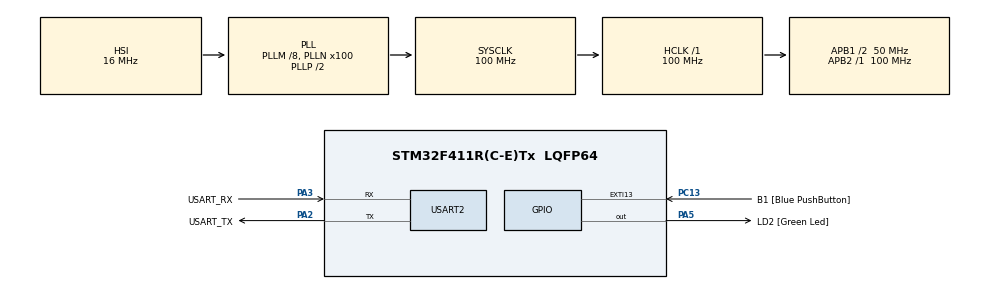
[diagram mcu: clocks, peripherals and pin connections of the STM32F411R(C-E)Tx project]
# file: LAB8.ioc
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Mcu.Family=STM32F4
Mcu.Name=STM32F411R(C-E)Tx
Mcu.Package=LQFP64
NVIC.EXTI15_10_IRQn=true\:0\:0\:false\:false\:true\:true\:true
NVIC.PriorityGroup=NVIC_PRIORITYGROUP_0
NVIC.TIM2_IRQn=true\:0\:0\:false\:false\:true\:true\:true
NVIC.USART2_IRQn=true\:0\:0\:false\:false\:true\:true\:true
PA13.GPIO_Label=TMS
PA13.Mode=Serial_Wire
PA13.Signal=SYS_JTMS-SWDIO
PA14.GPIO_Label=TCK
PA14.Mode=Serial_Wire
PA14.Signal=SYS_JTCK-SWCLK
PA2.GPIO_Label=USART_TX
PA2.Mode=Asynchronous
PA2.Signal=USART2_TX
PA3.GPIO_Label=USART_RX
PA3.Mode=Asynchronous
PA3.Signal=USART2_RX
PA5.GPIO_Label=LD2 [Green Led]
PA5.Signal=GPIO_Output
PB3.GPIO_Label=SWO
PB3.Signal=SYS_JTDO-SWO
PC13-ANTI_TAMP.GPIO_Label=B1 [Blue PushButton]
PC13-ANTI_TAMP.GPIO_ModeDefaultEXTI=GPIO_MODE_IT_RISING_FALLING
PC13-ANTI_TAMP.Signal=GPXTI13
PC14-OSC32_IN.Mode=LSE-External-Oscillator
PC14-OSC32_IN.Signal=RCC_OSC32_IN
PC15-OSC32_OUT.Mode=LSE-External-Oscillator
PC15-OSC32_OUT.Signal=RCC_OSC32_OUT
PH0\ -\ OSC_IN.Mode=HSE-External-Clock-Source
PH0\ -\ OSC_IN.Signal=RCC_OSC_IN
PH1\ -\ OSC_OUT.Mode=HSE-External-Clock-Source
PH1\ -\ OSC_OUT.Signal=RCC_OSC_OUT
ProjectManager.HeapSize=0x200
ProjectManager.StackSize=0x400
ProjectManager.TargetToolchain=STM32CubeIDE
RCC.48MHZClocksFreq_Value=50000000
RCC.AHBFreq_Value=100000000
RCC.APB1CLKDivider=RCC_HCLK_DIV2
RCC.APB1Freq_Value=50000000
RCC.APB1TimFreq_Value=100000000
RCC.APB2Freq_Value=100000000
RCC.APB2TimFreq_Value=100000000
RCC.CortexFreq_Value=100000000
RCC.FLatency-AdvancedSettings=FLASH_LATENCY_3
RCC.HCLKFreq_Value=100000000
RCC.HSE_VALUE=8000000
RCC.HSI_VALUE=16000000
RCC.PLLM=8
RCC.PLLN=100
RCC.SYSCLKFreq_VALUE=100000000
RCC.SYSCLKSource=RCC_SYSCLKSOURCE_PLLCLK
RCC.VCOOutputFreq_Value=200000000
TIM2.Prescaler=99
USART2.VirtualMode=VM_ASYNC
VP_TIM2_VS_ClockSourceINT.Mode=Internal
board=NUCLEO-F411RE

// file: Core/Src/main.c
/* USER CODE BEGIN Header */
/**
 ******************************************************************************
 * @file           : main.c
 * @brief          : Main program body
 ******************************************************************************
 * @attention
 *
 * <h2><center>&copy; Copyright (c) 2021 STMicroelectronics.
 * All rights reserved.</center></h2>
 *
 * This software component is licensed by ST under BSD 3-Clause license,
 * the "License"; You may not use this file except in compliance with the
 * License. You may obtain a copy of the License at:
 *                        opensource.org/licenses/BSD-3-Clause
 *
 ******************************************************************************
 */
/* USER CODE END Header */
#include "main.h"

/* USER CODE BEGIN Includes */
#include <stdio.h>
#include <string.h>
/* USER CODE END Includes */

TIM_HandleTypeDef htim2;

UART_HandleTypeDef huart2;

/* USER CODE BEGIN PV */
char TxDataBuffer[64] =
{ 0 };
char RxDataBuffer[64] =
{ 0 };

uint16_t StateDisplay = 0;
uint64_t _micros = 0;
uint16_t Frequency = 1;
uint64_t TimeStamp = 0;
uint16_t LEDOn = 1;

enum STATEDISPLAY{
	StartState = 0,
	PrintState_Menu01 = 1,
	WaitingState_Menu01 = 2,
	PrintState_MenuLEDControl = 3,
	PrintState_MenuButtonStatus = 4,
	WaitingState_LEDControl = 5,
	WaitingState_ButtonStatus = 6,

};
/* USER CODE END PV */

void SystemClock_Config(void);
static void MX_GPIO_Init(void);
static void MX_USART2_UART_Init(void);
static void MX_TIM2_Init(void);
/* USER CODE BEGIN PFP */
void UARTRecieveAndResponsePolling();
int16_t UARTRecieveIT();
uint64_t micros();

/* USER CODE END PFP */

int main(void)
{

  /* MCU Configuration--------------------------------------------------------*/

  /* Reset of all peripherals, Initializes the Flash interface and the Systick. */
  HAL_Init();

  /* Configure the system clock */
  SystemClock_Config();

  /* Initialize all configured peripherals */
  MX_GPIO_Init();
  MX_USART2_UART_Init();
  MX_TIM2_Init();
  /* USER CODE BEGIN 2 */
  HAL_TIM_Base_Start_IT(&htim2);

  //{
 // char temp[]="HELLO WORLD\r\n please type something to test UART\r\n";
  //HAL_UART_Transmit(&huart2, (uint8_t*)temp, strlen(temp),10);
  //}
  /* USER CODE END 2 */

  /* Infinite loop */
  /* USER CODE BEGIN WHILE */
	while (1)
	{

		if(LEDOn == 1){
			if(micros() - TimeStamp >= 1000000/Frequency ){
				TimeStamp= micros();
				HAL_GPIO_TogglePin(LD2_GPIO_Port, LD2_Pin);
			}
		}

		/*Method 2 Interrupt Mode*/
		HAL_UART_Receive_IT(&huart2,  (uint8_t*)RxDataBuffer, 64);

		/* Received*/

		int16_t inputchar = UARTRecieveIT();
		if(inputchar!=-1)
		{
			sprintf(TxDataBuffer, "ReceivedChar:[%c]\r\n", inputchar);
			HAL_UART_Transmit(&huart2, (uint8_t*)TxDataBuffer, strlen(TxDataBuffer), 1000);
		}

		switch (StateDisplay) {
			case 0:
				sprintf(TxDataBuffer, "ReceivedChar:Main Menu\r\n");
				HAL_UART_Transmit(&huart2, (uint8_t*)TxDataBuffer, strlen(TxDataBuffer), 1000);
				StateDisplay = 1;
				break;
			case 1:
				sprintf(TxDataBuffer, "ReceivedChar:0 : LED Control\r\n");
				HAL_UART_Transmit(&huart2, (uint8_t*)TxDataBuffer, strlen(TxDataBuffer), 1000);
				sprintf(TxDataBuffer, "ReceivedChar:1 : Button status\r\n");
				HAL_UART_Transmit(&huart2, (uint8_t*)TxDataBuffer, strlen(TxDataBuffer), 1000);
				StateDisplay = 2;
				break;
			case 2:
				if(inputchar!=-1)
				{
					if(inputchar == '0'){
						sprintf(TxDataBuffer, "ReceivedChar:User press 0, go to LED Control\r\n");
						HAL_UART_Transmit(&huart2, (uint8_t*)TxDataBuffer, strlen(TxDataBuffer), 1000);
						StateDisplay = 3;
					}
					else if(inputchar == '1'){
						sprintf(TxDataBuffer, "ReceivedChar:User press 1, Button status\r\n");
						HAL_UART_Transmit(&huart2, (uint8_t*)TxDataBuffer, strlen(TxDataBuffer), 1000);
						StateDisplay = 4;
					}
					else if (inputchar != '0' && inputchar != '1'){
						sprintf(TxDataBuffer, "ReceivedChar:Please choose the button from the menu\r\n");
						HAL_UART_Transmit(&huart2, (uint8_t*)TxDataBuffer, strlen(TxDataBuffer), 1000);
					}
				}
				break;
			case 3:
				sprintf(TxDataBuffer, "ReceivedChar:a : Speed Up + 1 Hz\r\n");
				HAL_UART_Transmit(&huart2, (uint8_t*)TxDataBuffer, strlen(TxDataBuffer), 1000);
				sprintf(TxDataBuffer, "ReceivedChar:s : Speed Down - 1 Hz\r\n");
				HAL_UART_Transmit(&huart2, (uint8_t*)TxDataBuffer, strlen(TxDataBuffer), 1000);
				sprintf(TxDataBuffer, "ReceivedChar:d : On/Off\r\n");
				HAL_UART_Transmit(&huart2, (uint8_t*)TxDataBuffer, strlen(TxDataBuffer), 1000);
				sprintf(TxDataBuffer, "ReceivedChar:x : Back\r\n");
				HAL_UART_Transmit(&huart2, (uint8_t*)TxDataBuffer, strlen(TxDataBuffer), 1000);
				StateDisplay = 5;
				break;
			case 4:
				sprintf(TxDataBuffer, "ReceivedChar:x : Back\r\n");
				HAL_UART_Transmit(&huart2, (uint8_t*)TxDataBuffer, strlen(TxDataBuffer), 1000);
				sprintf(TxDataBuffer, "ReceivedChar:Blue Button : Show Button Status\r\n");
				HAL_UART_Transmit(&huart2, (uint8_t*)TxDataBuffer, strlen(TxDataBuffer), 1000);
				StateDisplay = 6;
				break;
			case 5:
				if(inputchar != -1){
					if(inputchar == 'a'){
						Frequency += 1;
						sprintf(TxDataBuffer, "ReceivedChar:Frequency = %d Hz\r\n", Frequency);
						HAL_UART_Transmit(&huart2, (uint8_t*)TxDataBuffer, strlen(TxDataBuffer), 1000);
					}
					else if(inputchar == 's'){
						if (Frequency > 1){
							Frequency -= 1;
							sprintf(TxDataBuffer, "ReceivedChar:Frequency = %d Hz\r\n", Frequency);
							HAL_UART_Transmit(&huart2, (uint8_t*)TxDataBuffer, strlen(TxDataBuffer), 1000);
						}
						else{
							sprintf(TxDataBuffer, "ReceivedChar:Frequency = %d Hz\r\n", Frequency);
							HAL_UART_Transmit(&huart2, (uint8_t*)TxDataBuffer, strlen(TxDataBuffer), 1000);
						}
					}
					else if(inputchar == 'd'){
						if(LEDOn == 1){
							LEDOn = 0;
							sprintf(TxDataBuffer, "ReceivedChar:LED Off\r\n");
							HAL_UART_Transmit(&huart2, (uint8_t*)TxDataBuffer, strlen(TxDataBuffer), 1000);
							HAL_GPIO_WritePin(GPIOA, GPIO_PIN_5, RESET);
						}
						else {
							sprintf(TxDataBuffer, "ReceivedChar:LED On\r\n");
							HAL_UART_Transmit(&huart2, (uint8_t*)TxDataBuffer, strlen(TxDataBuffer), 1000);
							LEDOn = 1;
						}
					}
					else if(inputchar == 'x'){
						sprintf(TxDataBuffer, "ReceivedChar:Back to Main Menu\r\n");
						HAL_UART_Transmit(&huart2, (uint8_t*)TxDataBuffer, strlen(TxDataBuffer), 1000);
						StateDisplay = 0;
					}
					else {
						sprintf(TxDataBuffer, "ReceivedChar:Please choose the button from the menu\r\n");
						HAL_UART_Transmit(&huart2, (uint8_t*)TxDataBuffer, strlen(TxDataBuffer), 1000);
					}
				}
				break;
			case 6:
				if(inputchar!=-1)
				{
					if(inputchar == 'x'){
						sprintf(TxDataBuffer, "ReceivedChar:Back to Main Menu\r\n");
						HAL_UART_Transmit(&huart2, (uint8_t*)TxDataBuffer, strlen(TxDataBuffer), 1000);
						StateDisplay = 0;
					}
					else {
						sprintf(TxDataBuffer, "ReceivedChar:Please choose the button from the menu\r\n");
						HAL_UART_Transmit(&huart2, (uint8_t*)TxDataBuffer, strlen(TxDataBuffer), 1000);
					}
				}
				break;
			default:
				break;
		}

		/*This section just simmulate Work Load*/

    /* USER CODE END WHILE */

	}
}

void SystemClock_Config(void)
{
  RCC_OscInitTypeDef RCC_OscInitStruct = {0};
  RCC_ClkInitTypeDef RCC_ClkInitStruct = {0};

  /** Configure the main internal regulator output voltage
  */
  __HAL_RCC_PWR_CLK_ENABLE();
  __HAL_PWR_VOLTAGESCALING_CONFIG(PWR_REGULATOR_VOLTAGE_SCALE1);
  /** Initializes the RCC Oscillators according to the specified parameters
  * in the RCC_OscInitTypeDef structure.
  */
  RCC_OscInitStruct.OscillatorType = RCC_OSCILLATORTYPE_HSI;
  RCC_OscInitStruct.HSIState = RCC_HSI_ON;
  RCC_OscInitStruct.HSICalibrationValue = RCC_HSICALIBRATION_DEFAULT;
  RCC_OscInitStruct.PLL.PLLState = RCC_PLL_ON;
  RCC_OscInitStruct.PLL.PLLSource = RCC_PLLSOURCE_HSI;
  RCC_OscInitStruct.PLL.PLLM = 8;
  RCC_OscInitStruct.PLL.PLLN = 100;
  RCC_OscInitStruct.PLL.PLLP = RCC_PLLP_DIV2;
  RCC_OscInitStruct.PLL.PLLQ = 4;
  if (HAL_RCC_OscConfig(&RCC_OscInitStruct) != HAL_OK)
  {
    Error_Handler();
  }
  /** Initializes the CPU, AHB and APB buses clocks
  */
  RCC_ClkInitStruct.ClockType = RCC_CLOCKTYPE_HCLK|RCC_CLOCKTYPE_SYSCLK
                              |RCC_CLOCKTYPE_PCLK1|RCC_CLOCKTYPE_PCLK2;
  RCC_ClkInitStruct.SYSCLKSource = RCC_SYSCLKSOURCE_PLLCLK;
  RCC_ClkInitStruct.AHBCLKDivider = RCC_SYSCLK_DIV1;
  RCC_ClkInitStruct.APB1CLKDivider = RCC_HCLK_DIV2;
  RCC_ClkInitStruct.APB2CLKDivider = RCC_HCLK_DIV1;

  if (HAL_RCC_ClockConfig(&RCC_ClkInitStruct, FLASH_LATENCY_3) != HAL_OK)
  {
    Error_Handler();
  }
}

static void MX_TIM2_Init(void)
{

  TIM_ClockConfigTypeDef sClockSourceConfig = {0};
  TIM_MasterConfigTypeDef sMasterConfig = {0};

  htim2.Instance = TIM2;
  htim2.Init.Prescaler = 99;
  htim2.Init.CounterMode = TIM_COUNTERMODE_UP;
  htim2.Init.Period = 4294967295;
  htim2.Init.ClockDivision = TIM_CLOCKDIVISION_DIV1;
  htim2.Init.AutoReloadPreload = TIM_AUTORELOAD_PRELOAD_DISABLE;
  if (HAL_TIM_Base_Init(&htim2) != HAL_OK)
  {
    Error_Handler();
  }
  sClockSourceConfig.ClockSource = TIM_CLOCKSOURCE_INTERNAL;
  if (HAL_TIM_ConfigClockSource(&htim2, &sClockSourceConfig) != HAL_OK)
  {
    Error_Handler();
  }
  sMasterConfig.MasterOutputTrigger = TIM_TRGO_RESET;
  sMasterConfig.MasterSlaveMode = TIM_MASTERSLAVEMODE_DISABLE;
  if (HAL_TIMEx_MasterConfigSynchronization(&htim2, &sMasterConfig) != HAL_OK)
  {
    Error_Handler();
  }

}

static void MX_USART2_UART_Init(void)
{

  huart2.Instance = USART2;
  huart2.Init.BaudRate = 115200;
  huart2.Init.WordLength = UART_WORDLENGTH_8B;
  huart2.Init.StopBits = UART_STOPBITS_1;
  huart2.Init.Parity = UART_PARITY_NONE;
  huart2.Init.Mode = UART_MODE_TX_RX;
  huart2.Init.HwFlowCtl = UART_HWCONTROL_NONE;
  huart2.Init.OverSampling = UART_OVERSAMPLING_16;
  if (HAL_UART_Init(&huart2) != HAL_OK)
  {
    Error_Handler();
  }

}

static void MX_GPIO_Init(void)
{
  GPIO_InitTypeDef GPIO_InitStruct = {0};

  /* GPIO Ports Clock Enable */
  __HAL_RCC_GPIOC_CLK_ENABLE();
  __HAL_RCC_GPIOH_CLK_ENABLE();
  __HAL_RCC_GPIOA_CLK_ENABLE();
  __HAL_RCC_GPIOB_CLK_ENABLE();

  /*Configure GPIO pin Output Level */
  HAL_GPIO_WritePin(LD2_GPIO_Port, LD2_Pin, GPIO_PIN_RESET);

  /*Configure GPIO pin : B1_Pin */
  GPIO_InitStruct.Pin = B1_Pin;
  GPIO_InitStruct.Mode = GPIO_MODE_IT_RISING_FALLING;
  GPIO_InitStruct.Pull = GPIO_NOPULL;
  HAL_GPIO_Init(B1_GPIO_Port, &GPIO_InitStruct);

  /*Configure GPIO pin : LD2_Pin */
  GPIO_InitStruct.Pin = LD2_Pin;
  GPIO_InitStruct.Mode = GPIO_MODE_OUTPUT_PP;
  GPIO_InitStruct.Pull = GPIO_NOPULL;
  GPIO_InitStruct.Speed = GPIO_SPEED_FREQ_LOW;
  HAL_GPIO_Init(LD2_GPIO_Port, &GPIO_InitStruct);

  /* EXTI interrupt init*/
  HAL_NVIC_SetPriority(EXTI15_10_IRQn, 0, 0);
  HAL_NVIC_EnableIRQ(EXTI15_10_IRQn);

}

/* USER CODE BEGIN 4 */
void UARTRecieveAndResponsePolling()
{
	char Recieve[32]={0};

	HAL_UART_Receive(&huart2, (uint8_t*)Recieve, 32, 1000);

	sprintf(TxDataBuffer, "Received:[%s]\r\n", Recieve);
	HAL_UART_Transmit(&huart2, (uint8_t*)TxDataBuffer, strlen(TxDataBuffer), 1000);

}

int16_t UARTRecieveIT()
{
	static uint32_t dataPos =0;
	int16_t data=-1;
	if(huart2.RxXferSize - huart2.RxXferCount!=dataPos)
	{
		data=RxDataBuffer[dataPos];
		dataPos= (dataPos+1)%huart2.RxXferSize;
	}
	return data;
}

void HAL_UART_RxCpltCallback(UART_HandleTypeDef *huart)
{
	sprintf(TxDataBuffer, "Received:[%s]\r\n", RxDataBuffer);
	HAL_UART_Transmit_IT(&huart2, (uint8_t*)TxDataBuffer, strlen(TxDataBuffer));
}
void HAL_TIM_PeriodElapsedCallback(TIM_HandleTypeDef *htim)
{
	if (htim == &htim2)
	{
		_micros += 4294967295;
	}
}
uint64_t micros()
{
	return _micros + htim2.Instance->CNT;
}
void HAL_GPIO_EXTI_Callback(uint16_t GPIO_Pin){
	if(GPIO_Pin == GPIO_PIN_13 && StateDisplay==6){
		if (HAL_GPIO_ReadPin(GPIOC, GPIO_PIN_13) == GPIO_PIN_RESET) {
			sprintf(TxDataBuffer, "ReceivedChar:Button Press\r\n");
			HAL_UART_Transmit(&huart2, (uint8_t*)TxDataBuffer, strlen(TxDataBuffer), 1000);
		}
		else if (HAL_GPIO_ReadPin(GPIOC, GPIO_PIN_13) == GPIO_PIN_SET) {
			sprintf(TxDataBuffer, "ReceivedChar:Button Unpress\r\n");
			HAL_UART_Transmit(&huart2, (uint8_t*)TxDataBuffer, strlen(TxDataBuffer), 1000);
		}

	}
}
/* USER CODE END 4 */

void Error_Handler(void)
{
	__disable_irq();
	while (1)
	{
	}
}

/************************ (C) COPYRIGHT STMicroelectronics *****END OF FILE****/
